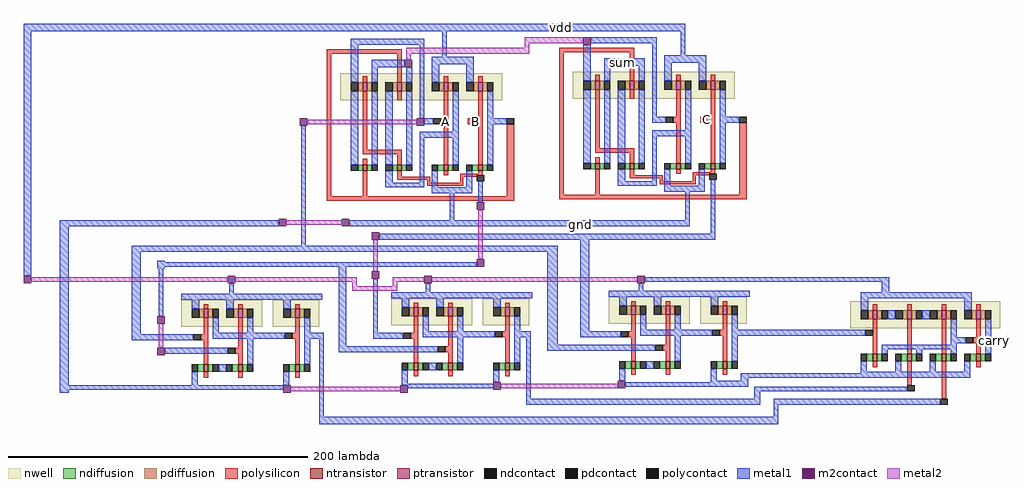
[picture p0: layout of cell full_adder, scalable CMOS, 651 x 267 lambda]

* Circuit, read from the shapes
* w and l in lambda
.subckt full_adder A B C carry gnd sum vdd
M1 n1 A gnd VSUBS nfet w=5 l=3
M2 n2 B n1 VSUBS nfet w=5 l=3
M3 n3 n2 gnd VSUBS nfet w=5 l=3
M4 n4 n5 A VSUBS nfet w=4 l=3
M5 n4 B n6 VSUBS nfet w=4 l=3
M6 n7 C gnd VSUBS nfet w=5 l=3
M7 n6 A gnd VSUBS nfet w=4 l=3
M8 n8 B n7 VSUBS nfet w=5 l=3
M9 n5 B gnd VSUBS nfet w=4 l=3
M10 n9 n8 gnd VSUBS nfet w=5 l=3
M11 sum n10 n4 VSUBS nfet w=4 l=3
M12 sum C n11 VSUBS nfet w=4 l=3
M13 n12 C gnd VSUBS nfet w=5 l=3
M14 n13 A n12 VSUBS nfet w=5 l=3
M15 n11 n4 gnd VSUBS nfet w=4 l=3
M16 n10 C gnd VSUBS nfet w=4 l=3
M17 n14 n13 gnd VSUBS nfet w=5 l=3
M18 n15 n14 gnd VSUBS nfet w=5 l=3
M19 n15 n9 gnd VSUBS nfet w=5 l=3
M20 n15 n3 gnd VSUBS nfet w=5 l=3
M21 carry n15 gnd VSUBS nfet w=5 l=3
M22 n2 A vdd n16 pfet w=6 l=3
M23 n2 B vdd n16 pfet w=6 l=3
M24 n3 n2 vdd n17 pfet w=6 l=3
M25 n4 B A n18 pfet w=6 l=3
M26 n4 n5 n6 n18 pfet w=6 l=3
M27 n8 C vdd n19 pfet w=6 l=3
M28 n6 A vdd n18 pfet w=6 l=3
M29 n8 B vdd n19 pfet w=6 l=3
M30 n5 B vdd n18 pfet w=6 l=3
M31 n9 n8 vdd n20 pfet w=6 l=3
M32 sum C n4 n21 pfet w=6 l=3
M33 sum n10 n11 n21 pfet w=6 l=3
M34 n13 C vdd n22 pfet w=6 l=3
M35 n13 A vdd n22 pfet w=6 l=3
M36 n11 n4 vdd n21 pfet w=6 l=3
M37 n10 C vdd n21 pfet w=6 l=3
M38 n14 n13 vdd n23 pfet w=6 l=3
M39 n24 n14 vdd n25 pfet w=6 l=3
M40 n26 n9 n24 n25 pfet w=6 l=3
M41 n15 n3 n26 n25 pfet w=6 l=3
M42 carry n15 vdd n25 pfet w=6 l=3
.ends

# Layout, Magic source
magic
tech scmos
<< nwell >>
rect 3 -173 111 -155
rect 158 -172 266 -154
rect -103 -324 -49 -306
rect -42 -324 -11 -306
rect 37 -323 91 -305
rect 98 -323 129 -305
rect 182 -322 236 -304
rect 243 -322 274 -304
rect 343 -325 443 -307
<< ntransistor >>
rect 18 -220 21 -216
rect 41 -220 44 -216
rect 72 -220 75 -216
rect 95 -220 98 -216
rect 173 -219 176 -215
rect 196 -219 199 -215
rect 227 -219 230 -215
rect 250 -219 253 -215
rect 358 -347 361 -342
rect 381 -347 384 -342
rect 404 -347 407 -342
rect 427 -347 430 -342
rect -88 -354 -85 -349
rect -65 -354 -62 -349
rect -27 -354 -24 -349
rect 52 -353 55 -348
rect 75 -353 78 -348
rect 113 -353 116 -348
rect 197 -352 200 -347
rect 220 -352 223 -347
rect 258 -352 261 -347
<< ptransistor >>
rect 18 -167 21 -161
rect 41 -167 44 -161
rect 72 -167 75 -161
rect 95 -167 98 -161
rect 173 -166 176 -160
rect 196 -166 199 -160
rect 227 -166 230 -160
rect 250 -166 253 -160
rect -88 -318 -85 -312
rect -65 -318 -62 -312
rect -27 -318 -24 -312
rect 52 -317 55 -311
rect 75 -317 78 -311
rect 113 -317 116 -311
rect 197 -316 200 -310
rect 220 -316 223 -310
rect 258 -316 261 -310
rect 358 -319 361 -313
rect 381 -319 384 -313
rect 404 -319 407 -313
rect 427 -319 430 -313
<< ndiffusion >>
rect 15 -220 18 -216
rect 21 -220 24 -216
rect 38 -220 41 -216
rect 44 -220 47 -216
rect 68 -220 72 -216
rect 75 -220 78 -216
rect 91 -220 95 -216
rect 98 -220 101 -216
rect 170 -219 173 -215
rect 176 -219 179 -215
rect 193 -219 196 -215
rect 199 -219 202 -215
rect 223 -219 227 -215
rect 230 -219 233 -215
rect 246 -219 250 -215
rect 253 -219 256 -215
rect 354 -347 358 -342
rect 361 -347 364 -342
rect 377 -347 381 -342
rect 384 -347 387 -342
rect 400 -347 404 -342
rect 407 -347 410 -342
rect 423 -347 427 -342
rect 430 -347 433 -342
rect -92 -354 -88 -349
rect -85 -354 -82 -349
rect -69 -354 -65 -349
rect -62 -354 -59 -349
rect -31 -354 -27 -349
rect -24 -354 -21 -349
rect 48 -353 52 -348
rect 55 -353 58 -348
rect 71 -353 75 -348
rect 78 -353 81 -348
rect 109 -353 113 -348
rect 116 -353 119 -348
rect 193 -352 197 -347
rect 200 -352 203 -347
rect 216 -352 220 -347
rect 223 -352 226 -347
rect 254 -352 258 -347
rect 261 -352 264 -347
<< pdiffusion >>
rect 15 -167 18 -161
rect 21 -167 24 -161
rect 38 -167 41 -161
rect 44 -167 47 -161
rect 69 -167 72 -161
rect 75 -167 78 -161
rect 92 -167 95 -161
rect 98 -167 101 -161
rect 170 -166 173 -160
rect 176 -166 179 -160
rect 193 -166 196 -160
rect 199 -166 202 -160
rect 224 -166 227 -160
rect 230 -166 233 -160
rect 247 -166 250 -160
rect 253 -166 256 -160
rect -91 -318 -88 -312
rect -85 -318 -82 -312
rect -68 -318 -65 -312
rect -62 -318 -59 -312
rect -30 -318 -27 -312
rect -24 -318 -21 -312
rect 49 -317 52 -311
rect 55 -317 58 -311
rect 72 -317 75 -311
rect 78 -317 81 -311
rect 110 -317 113 -311
rect 116 -317 119 -311
rect 194 -316 197 -310
rect 200 -316 203 -310
rect 217 -316 220 -310
rect 223 -316 226 -310
rect 255 -316 258 -310
rect 261 -316 264 -310
rect 355 -319 358 -313
rect 361 -319 364 -313
rect 378 -319 381 -313
rect 384 -319 387 -313
rect 401 -319 404 -313
rect 407 -319 410 -313
rect 424 -319 427 -313
rect 430 -319 433 -313
<< ndcontact >>
rect 10 -220 15 -216
rect 24 -220 28 -216
rect 33 -220 38 -216
rect 47 -220 51 -216
rect 64 -220 68 -216
rect 78 -220 82 -216
rect 87 -220 91 -216
rect 101 -220 105 -216
rect 165 -219 170 -215
rect 179 -219 183 -215
rect 188 -219 193 -215
rect 202 -219 206 -215
rect 219 -219 223 -215
rect 233 -219 237 -215
rect 242 -219 246 -215
rect 256 -219 260 -215
rect 350 -347 354 -342
rect 364 -347 368 -342
rect 373 -347 377 -342
rect 387 -347 391 -342
rect 396 -347 400 -342
rect 410 -347 414 -342
rect 419 -347 423 -342
rect 433 -347 437 -342
rect -96 -354 -92 -349
rect -82 -354 -78 -349
rect -73 -354 -69 -349
rect -59 -354 -55 -349
rect -35 -354 -31 -349
rect -21 -354 -17 -349
rect 44 -353 48 -348
rect 58 -353 62 -348
rect 67 -353 71 -348
rect 81 -353 85 -348
rect 105 -353 109 -348
rect 119 -353 123 -348
rect 189 -352 193 -347
rect 203 -352 207 -347
rect 212 -352 216 -347
rect 226 -352 230 -347
rect 250 -352 254 -347
rect 264 -352 268 -347
<< pdcontact >>
rect 10 -167 15 -161
rect 24 -167 28 -161
rect 33 -167 38 -161
rect 47 -167 51 -161
rect 64 -167 69 -161
rect 78 -167 82 -161
rect 87 -167 92 -161
rect 101 -167 105 -161
rect 165 -166 170 -160
rect 179 -166 183 -160
rect 188 -166 193 -160
rect 202 -166 206 -160
rect 219 -166 224 -160
rect 233 -166 237 -160
rect 242 -166 247 -160
rect 256 -166 260 -160
rect -96 -318 -91 -312
rect -82 -318 -78 -312
rect -73 -318 -68 -312
rect -59 -318 -55 -312
rect -35 -318 -30 -312
rect -21 -318 -17 -312
rect 44 -317 49 -311
rect 58 -317 62 -311
rect 67 -317 72 -311
rect 81 -317 85 -311
rect 105 -317 110 -311
rect 119 -317 123 -311
rect 189 -316 194 -310
rect 203 -316 207 -310
rect 212 -316 217 -310
rect 226 -316 230 -310
rect 250 -316 255 -310
rect 264 -316 268 -310
rect 350 -319 355 -313
rect 364 -319 368 -313
rect 373 -319 378 -313
rect 387 -319 391 -313
rect 396 -319 401 -313
rect 410 -319 414 -313
rect 419 -319 424 -313
rect 433 -319 437 -313
<< polysilicon >>
rect -6 -142 44 -139
rect -6 -237 -3 -142
rect 18 -161 21 -157
rect 41 -161 44 -142
rect 149 -141 199 -138
rect 72 -161 75 -157
rect 95 -161 98 -157
rect 18 -206 21 -167
rect 41 -173 44 -167
rect 72 -185 75 -167
rect 95 -185 98 -167
rect 70 -189 75 -185
rect 88 -189 98 -185
rect 18 -209 44 -206
rect 18 -216 21 -212
rect 41 -216 44 -209
rect 72 -216 75 -189
rect 95 -216 98 -189
rect 18 -237 21 -220
rect 41 -224 44 -220
rect 72 -223 75 -220
rect 95 -222 98 -220
rect 83 -223 98 -222
rect 83 -224 94 -223
rect 41 -226 63 -224
rect 61 -228 63 -226
rect 83 -228 85 -224
rect 61 -230 85 -228
rect 114 -237 119 -189
rect -6 -240 119 -237
rect 149 -236 152 -141
rect 173 -160 176 -156
rect 196 -160 199 -141
rect 227 -160 230 -156
rect 250 -160 253 -156
rect 173 -205 176 -166
rect 196 -172 199 -166
rect 227 -184 230 -166
rect 250 -184 253 -166
rect 225 -188 230 -184
rect 243 -188 253 -184
rect 173 -208 199 -205
rect 173 -215 176 -211
rect 196 -215 199 -208
rect 227 -215 230 -188
rect 250 -215 253 -188
rect 173 -236 176 -219
rect 196 -223 199 -219
rect 227 -222 230 -219
rect 250 -221 253 -219
rect 238 -222 253 -221
rect 238 -223 249 -222
rect 196 -225 218 -223
rect 216 -227 218 -225
rect 238 -227 240 -223
rect 216 -229 240 -227
rect 269 -236 274 -188
rect 149 -239 274 -236
rect -88 -312 -85 -309
rect -65 -312 -62 -309
rect -27 -312 -24 -309
rect 52 -311 55 -308
rect 75 -311 78 -308
rect 113 -311 116 -308
rect 197 -310 200 -307
rect 220 -310 223 -307
rect 258 -310 261 -307
rect 358 -313 361 -309
rect 381 -313 384 -309
rect 404 -313 407 -309
rect 427 -313 430 -309
rect -88 -329 -85 -318
rect -90 -333 -85 -329
rect -88 -349 -85 -333
rect -65 -338 -62 -318
rect -27 -328 -24 -318
rect 52 -328 55 -317
rect -29 -332 -24 -328
rect 50 -332 55 -328
rect -67 -342 -62 -338
rect -65 -349 -62 -342
rect -27 -349 -24 -332
rect 52 -348 55 -332
rect 75 -337 78 -317
rect 113 -327 116 -317
rect 197 -327 200 -316
rect 111 -331 116 -327
rect 195 -331 200 -327
rect 73 -341 78 -337
rect 75 -348 78 -341
rect 113 -348 116 -331
rect 197 -347 200 -331
rect 220 -336 223 -316
rect 258 -326 261 -316
rect 256 -330 261 -326
rect 218 -340 223 -336
rect 220 -347 223 -340
rect 258 -347 261 -330
rect 358 -342 361 -319
rect 381 -342 384 -319
rect 404 -342 407 -319
rect 427 -331 430 -319
rect 425 -335 430 -331
rect 427 -342 430 -335
rect 358 -351 361 -347
rect -88 -358 -85 -354
rect -65 -358 -62 -354
rect -27 -358 -24 -354
rect 52 -357 55 -353
rect 75 -357 78 -353
rect 113 -357 116 -353
rect 197 -356 200 -352
rect 220 -356 223 -352
rect 258 -356 261 -352
rect 381 -363 384 -347
rect 404 -372 407 -347
rect 427 -351 430 -347
<< polycontact >>
rect 65 -189 70 -185
rect 114 -189 119 -185
rect 94 -227 99 -223
rect 220 -188 225 -184
rect 269 -188 274 -184
rect 249 -226 254 -222
rect -95 -333 -90 -329
rect -34 -332 -29 -328
rect 45 -332 50 -328
rect -72 -342 -67 -338
rect 106 -331 111 -327
rect 190 -331 195 -327
rect 68 -341 73 -337
rect 251 -330 256 -326
rect 353 -330 358 -326
rect 213 -340 218 -336
rect 420 -335 425 -331
rect 381 -367 386 -363
rect 403 -376 408 -372
<< metal1 >>
rect -208 -127 233 -122
rect -208 -290 -203 -127
rect 10 -136 59 -132
rect 10 -161 15 -136
rect -184 -257 -38 -253
rect -184 -363 -178 -257
rect -23 -270 -20 -190
rect 10 -216 15 -167
rect 24 -151 46 -146
rect 24 -161 28 -151
rect 47 -161 51 -151
rect 24 -216 28 -167
rect 33 -216 38 -167
rect 47 -216 51 -167
rect 56 -185 59 -136
rect 71 -144 74 -127
rect 170 -135 214 -131
rect 64 -149 92 -144
rect 64 -161 69 -149
rect 87 -161 92 -149
rect 165 -160 170 -136
rect 59 -189 65 -185
rect 78 -194 82 -167
rect 56 -198 82 -194
rect 33 -228 38 -220
rect 56 -228 59 -198
rect 78 -216 82 -198
rect 101 -185 105 -167
rect 101 -189 114 -185
rect 101 -216 105 -189
rect 33 -231 59 -228
rect 165 -215 170 -166
rect 179 -150 206 -145
rect 179 -160 183 -150
rect 202 -160 206 -150
rect 179 -215 183 -166
rect 188 -215 193 -166
rect 202 -215 206 -166
rect 211 -184 214 -135
rect 230 -143 233 -127
rect 219 -148 247 -143
rect 219 -160 224 -148
rect 242 -160 247 -148
rect 211 -188 220 -184
rect 233 -193 237 -166
rect 211 -197 237 -193
rect 64 -231 68 -220
rect 87 -231 91 -220
rect 188 -227 193 -219
rect 211 -227 214 -197
rect 233 -215 237 -197
rect 256 -184 260 -166
rect 256 -188 269 -184
rect 256 -215 260 -188
rect 64 -235 91 -231
rect 76 -253 79 -235
rect 95 -241 98 -227
rect 188 -230 214 -227
rect 219 -230 223 -219
rect 242 -230 246 -219
rect 219 -234 246 -230
rect 233 -253 236 -234
rect 9 -257 236 -253
rect 250 -262 253 -226
rect 29 -266 253 -262
rect -136 -274 148 -270
rect -136 -329 -130 -274
rect -119 -281 -114 -280
rect -119 -284 94 -281
rect -119 -285 -114 -284
rect -118 -317 -115 -285
rect -71 -302 -68 -295
rect -103 -306 -9 -302
rect -96 -312 -91 -306
rect -73 -312 -68 -306
rect -35 -312 -30 -306
rect -82 -328 -78 -318
rect -59 -328 -55 -318
rect -21 -328 -17 -318
rect -136 -333 -95 -329
rect -82 -332 -34 -328
rect -21 -332 -8 -328
rect -114 -342 -72 -338
rect -59 -349 -55 -332
rect -21 -349 -17 -332
rect -78 -354 -73 -349
rect -96 -363 -92 -354
rect -35 -363 -31 -354
rect -184 -366 -35 -363
rect -184 -368 -178 -366
rect -11 -384 -8 -332
rect 2 -337 7 -284
rect 25 -328 28 -292
rect 60 -301 63 -295
rect 37 -305 131 -301
rect 44 -311 49 -305
rect 67 -311 72 -305
rect 105 -311 110 -305
rect 58 -327 62 -317
rect 81 -327 85 -317
rect 119 -327 123 -317
rect 25 -332 45 -328
rect 58 -331 106 -327
rect 119 -331 130 -327
rect 2 -341 68 -337
rect 81 -348 85 -331
rect 119 -348 123 -331
rect 62 -353 67 -348
rect 44 -362 48 -353
rect 105 -361 109 -353
rect 44 -363 105 -362
rect 48 -365 105 -363
rect 127 -372 130 -331
rect 141 -336 148 -274
rect 163 -327 169 -266
rect 206 -294 369 -291
rect 202 -300 205 -295
rect 182 -304 276 -300
rect 364 -301 369 -294
rect 189 -310 194 -304
rect 212 -310 217 -304
rect 250 -310 255 -304
rect 350 -305 424 -301
rect 203 -326 207 -316
rect 226 -326 230 -316
rect 264 -326 268 -316
rect 350 -313 355 -305
rect 419 -313 424 -305
rect 368 -319 373 -313
rect 391 -319 396 -313
rect 163 -331 190 -327
rect 203 -330 251 -326
rect 264 -330 353 -326
rect 141 -340 213 -336
rect 226 -347 230 -330
rect 264 -347 268 -330
rect 410 -331 414 -319
rect 433 -331 437 -319
rect 410 -335 420 -331
rect 433 -335 442 -331
rect 410 -336 414 -335
rect 364 -339 414 -336
rect 364 -342 368 -339
rect 387 -342 391 -339
rect 410 -342 414 -339
rect 433 -342 437 -335
rect 207 -352 212 -347
rect 189 -360 193 -352
rect 250 -360 254 -352
rect 350 -354 354 -347
rect 373 -354 377 -347
rect 396 -354 400 -347
rect 419 -354 423 -347
rect 350 -355 423 -354
rect 270 -358 423 -355
rect 270 -360 275 -358
rect 250 -361 275 -360
rect 193 -364 275 -361
rect 279 -367 381 -364
rect 279 -372 283 -367
rect 127 -376 283 -372
rect 292 -376 403 -372
rect 292 -384 295 -376
rect -11 -389 295 -384
<< m2contact >>
rect -24 -190 -19 -185
rect -208 -295 -203 -290
rect -38 -257 -33 -252
rect 46 -151 51 -146
rect 165 -136 170 -131
rect 54 -190 59 -185
rect 4 -257 9 -252
rect 94 -246 99 -241
rect 24 -266 29 -261
rect 94 -284 99 -279
rect -72 -295 -67 -290
rect -119 -322 -114 -317
rect -119 -343 -114 -338
rect -35 -368 -30 -363
rect 24 -292 29 -287
rect 59 -295 64 -290
rect 43 -368 48 -363
rect 105 -366 110 -361
rect 201 -295 206 -290
rect 188 -365 193 -360
<< metal2 >>
rect 126 -135 165 -131
rect 126 -138 129 -135
rect 47 -142 129 -138
rect 47 -146 50 -142
rect -19 -189 54 -186
rect -33 -256 4 -253
rect 25 -287 28 -266
rect 95 -279 98 -246
rect -203 -294 -72 -291
rect -67 -294 14 -291
rect 11 -297 14 -294
rect 38 -294 59 -291
rect 38 -297 41 -294
rect 64 -294 201 -291
rect 11 -300 41 -297
rect -118 -338 -115 -322
rect -30 -367 43 -364
rect 110 -365 188 -362
<< labels >>
rlabel metal1 148 -126 153 -123 5 vdd
rlabel polysilicon 245 -187 249 -185 1 C
rlabel polysilicon 71 -188 75 -186 1 A
rlabel polysilicon 91 -188 95 -186 1 B
rlabel metal1 189 -149 193 -147 1 sum
rlabel metal1 161 -257 166 -255 1 gnd
rlabel metal1 438 -334 441 -332 7 carry
<< end >>
